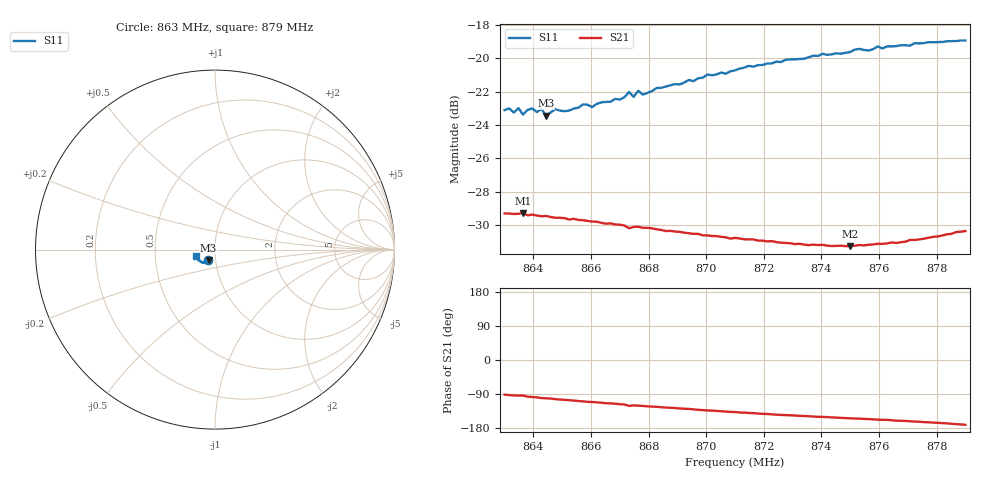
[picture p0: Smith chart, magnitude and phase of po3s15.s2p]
# HZ S RI R 50
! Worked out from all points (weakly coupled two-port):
!   101 points, 863 MHz to 879 MHz, reference 50 ohm
!   highest |S21| = -29.27 dB at 863.64 MHz (marker M1); lowest = -31.3 dB at 875 MHz (marker M2)
!   lowest |S11| = -23.4 dB at 864.44 MHz (marker M3), VSWR 1.14, Z = 46.2 - j5.3 ohm
!   |S11| at or under -10 dB: start of sweep to end of sweep
!   S12 and S22 are empty: the file has one direction only
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8.63e8  -0.0386 -0.0583  -0.000843 -0.0343  0 0  0 0
8.6332e8  -0.0379 -0.0574  -0.00211 -0.0341  0 0  0 0
8.6348e8  -0.0411 -0.0578  -0.00232 -0.0341  0 0  0 0
8.6364e8  -0.0339 -0.0587  -0.00227 -0.0343  0 0  0 0
8.6396e8  -0.0404 -0.0581  -0.00452 -0.0337  0 0  0 0
8.6428e8  -0.0371 -0.06  -0.00617 -0.033  0 0  0 0
8.6444e8  -0.0358 -0.057  -0.00644 -0.0331  0 0  0 0
8.6476e8  -0.0371 -0.0599  -0.00764 -0.0324  0 0  0 0
8.6524e8  -0.0349 -0.0603  -0.00916 -0.0316  0 0  0 0
8.6572e8  -0.0359 -0.0633  -0.0107 -0.0309  0 0  0 0
8.6604e8  -0.0345 -0.0625  -0.0115 -0.0303  0 0  0 0
8.67e8  -0.0357 -0.0662  -0.0142 -0.0284  0 0  0 0
8.6732e8  -0.0402 -0.0683  -0.016 -0.0265  0 0  0 0
8.6748e8  -0.0363 -0.0675  -0.0155 -0.0272  0 0  0 0
8.6764e8  -0.0396 -0.0694  -0.0159 -0.0269  0 0  0 0
8.678e8  -0.0384 -0.0676  -0.0161 -0.0265  0 0  0 0
8.6844e8  -0.041 -0.0705  -0.0174 -0.0252  0 0  0 0
8.71e8  -0.0551 -0.0737  -0.0213 -0.0196  0 0  0 0
8.7372e8  -0.0738 -0.0702  -0.0237 -0.0142  0 0  0 0
8.75e8  -0.0826 -0.0638  -0.0246 -0.012  0 0  0 0
8.7644e8  -0.0931 -0.0558  -0.0262 -0.01  0 0  0 0
8.79e8  -0.1077 -0.0346  -0.03 -0.00468  0 0  0 0
